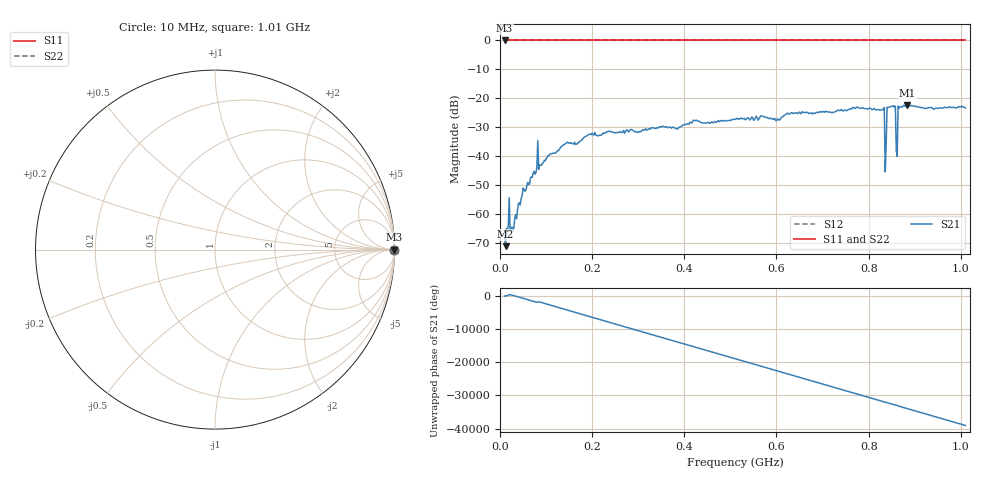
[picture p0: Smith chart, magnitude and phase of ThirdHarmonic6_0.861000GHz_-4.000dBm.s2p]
! 8/16/2025 4:27:18 AM
! C:\ANRITSUVNA\TEMP\TEMP.S2P
! CHANNEL.1
! TR.MEASUREMENT
! RAW.DATA
! RF.CORRECTION.OFF
! AVERAGING.OFF
! IF.BANDWIDTH: 5KHZ
! SWEEPTYPE:  FREQ.SWEEP(Linear)
! Reference Plane Port Info
! PORT:  PORT1  PORT2
! DISTANCE:  0  m  0  m
! TIME:  0  s  0  s
! PHASE.OFFSET:  0  deg.  0  deg.
! LOSS:  0  dB  0  dB
! REF.LOSS:  0  dB  0  dB
! REF.FREQ:  0  Hz  0  Hz
! Power Info
! POWER:  -20  dBm  -20  dBm
! EFF.POWER:  -20  dBm  -20  dBm
! SOURCE.ATTEN:  0  dB  0  dB
! TEST.ATTEN:  0  dB  0  dB
# GHZ S RI R 50.0
! FREQ.GHZ  S11RE  S11IM  S21RE  S21IM  S12RE  S12IM  S22RE  S22IM
!; PortSelection: Port_12
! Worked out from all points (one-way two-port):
!   501 points, 10 MHz to 1.01 GHz, reference 50 ohm
!   highest |S21| = -22.28 dB at 884 MHz (marker M1); lowest = -71.1 dB at 12 MHz (marker M2)
!   lowest |S11| = 0.0 dB at 10 MHz (marker M3)
!   |S11| at or under -10 dB: nowhere
!   |S22| runs from 0.0 to 0.0 dB; largest |S21 - S12| = 1.1
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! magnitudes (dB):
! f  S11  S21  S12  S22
! 10 MHz  0.0  -67.6  0.0  0.0
! 12 MHz  0.0  -71.1  0.0  0.0
! 18 MHz  0.0  -64.0  0.0  0.0
! 26 MHz  0.0  -64.5  0.0  0.0
! 50 MHz  0.0  -51.1  0.0  0.0
! 84 MHz  0.0  -44.6  0.0  0.0
! 88 MHz  0.0  -43.1  0.0  0.0
! 142 MHz  0.0  -35.7  0.0  0.0
! 178 MHz  0.0  -34.4  0.0  0.0
! 344 MHz  0.0  -30.2  0.0  0.0
! 510 MHz  0.0  -27.3  0.0  0.0
! 678 MHz  0.0  -25.4  0.0  0.0
! 830 MHz  0.0  -23.8  0.0  0.0
! 834 MHz  0.0  -23.2  0.0  0.0
! 840 MHz  0.0  -23.1  0.0  0.0
! 844 MHz  0.0  -23.1  0.0  0.0
! 854 MHz  0.0  -22.6  0.0  0.0
! 858 MHz  0.0  -22.7  0.0  0.0
! 864 MHz  0.0  -22.7  0.0  0.0
! 868 MHz  0.0  -22.9  0.0  0.0
! 884 MHz  0.0  -22.3  0.0  0.0
! 1.01 GHz  0.0  -23.4  0.0  0.0
